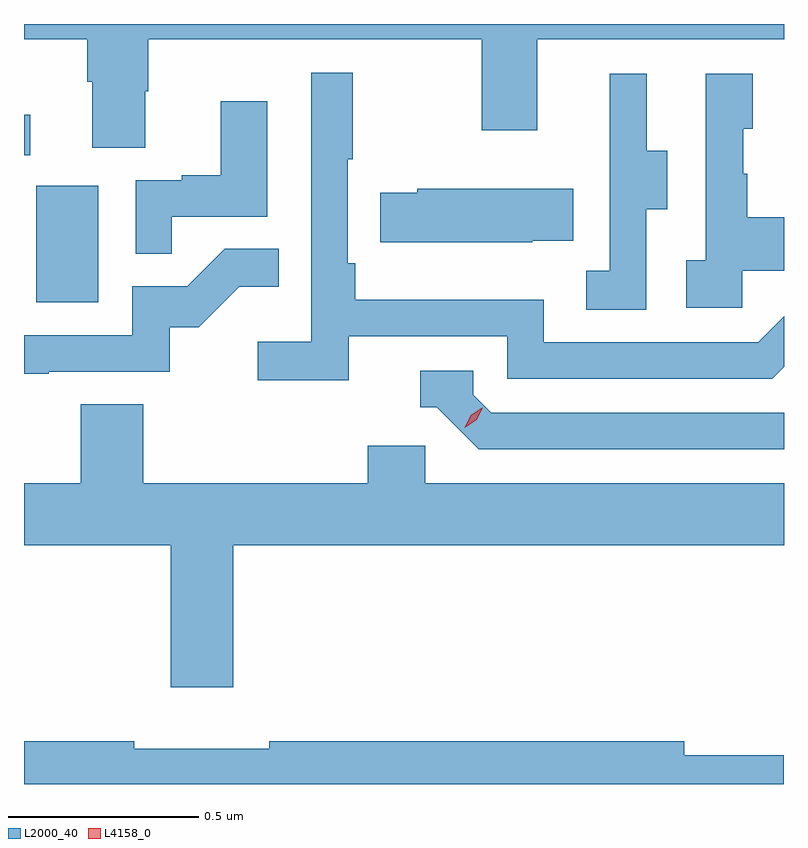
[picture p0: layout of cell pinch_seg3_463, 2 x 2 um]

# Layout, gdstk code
import gdstk
lib = gdstk.Library(unit=1e-6, precision=1e-09)
def R(c, l, rs):  # rectangles x0, y0, x1, y1
    for r in rs: c.add(gdstk.rectangle(r[:2], r[2:], *l))
def P(c, l, *ps):  # polygons
    for p in ps: c.add(gdstk.Polygon(p, *l))
L2000_40 = (2000, 40)
L4158_0 = (4158, 0)

pinch_seg3_463 = lib.new_cell('pinch_seg3_463')
R(pinch_seg3_463, L2000_40, [(919.898,669.588,920.062,669.895), (919.866,669.975,919.882,670.081)])
P(pinch_seg3_463, L2000_40, [(920.185,670.143),(920.193,670.143),(920.193,670.28),(921.07,670.28),(921.07,670.041),(921.217,670.041),(921.217,670.28),(921.866,670.28),(921.866,670.32),(919.866,670.32),(919.866,670.28),(920.033,670.28),(920.033,670.168),(920.045,670.168),(920.045,669.994),(920.185,669.994)],
  [(920.72,669.498),(921.138,669.498),(921.138,669.387),(921.835,669.387),(921.866,669.418),(921.866,669.551),(921.798,669.483),(921.234,669.483),(921.234,669.595),(920.738,669.595),(920.738,669.691),(920.718,669.691),(920.718,669.964),(920.731,669.964),(920.731,670.192),(920.622,670.192),(920.622,669.484),(920.481,669.484),(920.481,669.382),(920.72,669.382)],
  [(921.756,669.671),(921.866,669.671),(921.866,669.811),(921.769,669.811),(921.769,669.926),(921.759,669.926),(921.759,670.044),(921.784,670.044),(921.784,670.189),(921.66,670.189),(921.66,669.698),(921.609,669.698),(921.609,669.573),(921.756,669.573)],
  [(921.504,669.832),(921.559,669.832),(921.559,669.987),(921.505,669.987),(921.505,670.189),(921.407,670.189),(921.407,669.975),(921.408,669.975),(921.408,669.671),(921.345,669.671),(921.345,669.568),(921.504,669.568)],
  [(920.255,669.813),(920.506,669.813),(920.506,670.117),(920.384,670.117),(920.384,669.922),(920.281,669.922),(920.281,669.909),(920.16,669.909),(920.16,669.715),(920.255,669.715)],
  [(921.203,669.749),(921.311,669.749),(921.311,669.886),(920.901,669.886),(920.901,669.876),(920.803,669.876),(920.803,669.746),(921.203,669.746)],
  [(919.931,669.405),(920.25,669.405),(920.25,669.522),(920.326,669.522),(920.433,669.629),(920.537,669.629),(920.537,669.728),(920.394,669.728),(920.296,669.63),(920.151,669.63),(920.151,669.501),(919.866,669.501),(919.866,669.4),(919.931,669.4)],
  [(921.866,669.297),(921.096,669.297),(921.048,669.345),(921.048,669.408),(920.909,669.408),(920.909,669.312),(920.952,669.312),(921.063,669.201),(921.866,669.201)],
  [(920.416,668.948),(921.866,668.948),(921.866,669.112),(920.922,669.112),(920.922,669.21),(920.771,669.21),(920.771,669.112),(920.18,669.112),(920.18,669.32),(920.015,669.32),(920.015,669.112),(919.866,669.112),(919.866,668.948),(920.252,668.948),(920.252,668.574),(920.416,668.574)],
  [(921.865,668.396),(921.604,668.396),(921.604,668.432),(920.512,668.432),(920.512,668.413),(920.156,668.413),(920.156,668.432),(919.866,668.432),(919.866,668.32),(921.865,668.32)])
P(pinch_seg3_463, L4158_0, [(921.026,669.258),(921.026,669.258),(921.042,669.291),(921.072,669.31),(921.073,669.31),(921.073,669.31),(921.057,669.278),(921.026,669.258)])

lib.write_gds('pinch_seg3_463.gds')
